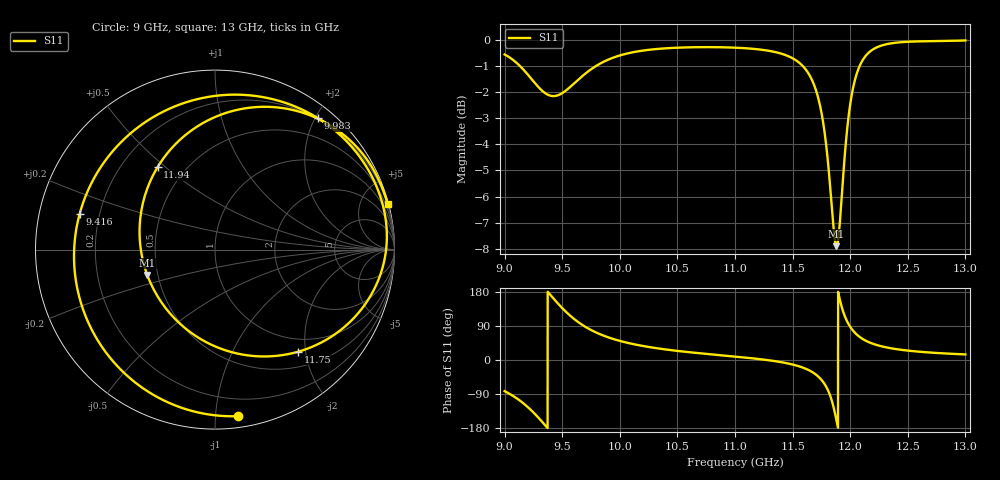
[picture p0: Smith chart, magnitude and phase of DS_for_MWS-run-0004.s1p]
! TOUCHSTONE file generated by CST DESIGN STUDIO
! Date and time: Tue Feb  4 14:19:21 2025
! Project name: C:\Work\MatlabApps\UnitCellOptimizationMatlab\CST\unitcell.cst
! Tree item: Tasks\Sweep1\SPara1\S-Parameters
! Header version: 2024
! Port assignment regex: !\s*Touchstone port\s*([0-9]+)\s*=\s*(CST MWS port|CST DES external port|CST DES block port)\s*(.+)\s* \(\"(.*)\"\)(\s*mode\s*([0-9]+))?.*
! Touchstone port assignment:
! Touchstone port 1 = CST DES external port 1 ("")
# GHz S MA R 50
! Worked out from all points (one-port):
!   4001 points, 9 GHz to 13 GHz, reference 50 ohm
!   lowest |S11| = -7.9 dB at 11.88 GHz (marker M1), VSWR 2.35, Z = 21.8 - j7.36 ohm
!   |S11| at or under -10 dB: nowhere
!   S11 on the Smith chart (normalised r, x): 9 GHz: 0.08, -1.14; 9.416 GHz: 0.13, +0.13; 9.983 GHz: 0.19, +2.04; 11.75 GHz: 0.75, -1.86; 11.94 GHz: 0.35, +0.47; 13 GHz: 0.12, +7.75
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9  0.9367 -82.2
9.109  0.9006 -102.0
9.201  0.8575 -124.2
9.317  0.8018 -160.1
9.416  0.78 165.1
9.5  0.7901 137.0
9.587  0.8185 112.3
9.684  0.855 90.7
9.827  0.8992 68.2
9.983  0.9302 51.8
10  0.9326 50.4
10.215  0.9538 36.2
10.5  0.965 24.0
11  0.9651 9.0
11.5  0.9211 -11.9
11.647  0.8549 -27.8
11.746  0.7337 -50.8
11.82  0.5426 -89.1
11.85  0.4508 -117.7
11.881  0.403 -159.5
11.91  0.4469 159.2
11.942  0.5601 124.8
12  0.7521 87.6
12.08  0.8884 61.3
12.173  0.9493 45.6
12.304  0.9786 33.9
12.5  0.9904 24.8
13  0.9962 14.7
